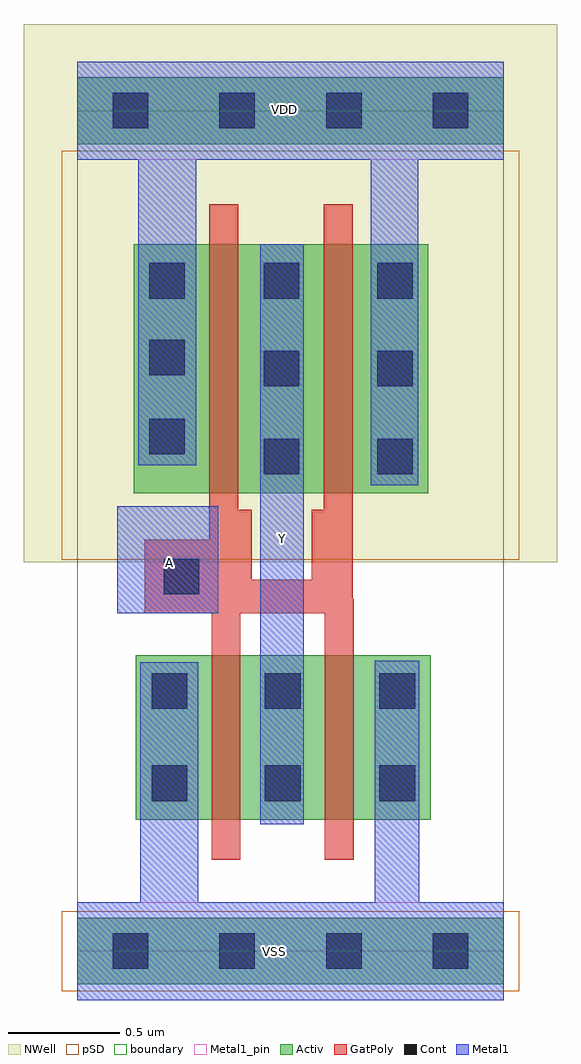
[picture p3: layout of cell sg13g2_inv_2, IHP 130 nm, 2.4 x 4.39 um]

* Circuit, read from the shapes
.subckt sg13g2_inv_2 A VDD VSS Y
XM1 Y A VSS VSS sg13_lv_nmos w=0.74u l=0.13u m=2
XM2 Y A VDD VDD sg13_lv_pmos w=1.12u l=0.13u m=2
.ends

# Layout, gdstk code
import gdstk
lib = gdstk.Library(unit=1e-6, precision=1e-09)
def R(c, l, rs):  # rectangles x0, y0, x1, y1
    for r in rs: c.add(gdstk.rectangle(r[:2], r[2:], *l))
def A(c, l, x, y, w, h, nx, ny, dx, dy):  # array of equal rectangles
    R(c, l, [(x+i*dx, y+j*dy, x+i*dx+w, y+j*dy+h) for i in range(nx) for j in range(ny)])
def P(c, l, *ps):  # polygons
    for p in ps: c.add(gdstk.Polygon(p, *l))
Activ = (1, 0)
GatPoly = (5, 0)
Cont = (6, 0)
Metal1 = (8, 0)
Metal1_pin = (8, 2)
pSD = (14, 0)
NWell = (31, 0)
boundary = (189, 4)

sg13g2_inv_2 = lib.new_cell('sg13g2_inv_2')
R(sg13g2_inv_2, Activ, [(0,-0.15,1.92,0.15), (0.265,0.59,1.59,1.33), (0.255,2.06,1.58,3.18), (0,3.63,1.92,3.93)])
P(sg13g2_inv_2, GatPoly, [(0.605,0.41),(0.605,1.52),(0.305,1.52),(0.305,1.85),(0.595,1.85),(0.595,3.36),(0.725,3.36),(0.725,1.985),(0.785,1.985),(0.785,1.67),(1.055,1.67),(1.055,1.985),(1.11,1.985),(1.11,3.36),(1.24,3.36),(1.24,1.585),(1.245,1.585),(1.245,0.41),(1.115,0.41),(1.115,1.52),(0.735,1.52),(0.735,0.41)])
A(sg13g2_inv_2, Cont, 0.84, 2.145, 0.16, 0.16, 1, 3, 0, 0.395)
A(sg13g2_inv_2, Cont, 1.35, 2.145, 0.16, 0.16, 1, 3, 0, 0.395)
R(sg13g2_inv_2, Cont, [(0.16,-0.08,0.32,0.08), (0.16,-0.08,0.32,0.08), (0.64,-0.08,0.8,0.08), (0.64,-0.08,0.8,0.08), (1.12,-0.08,1.28,0.08), (1.12,-0.08,1.28,0.08), (1.6,-0.08,1.76,0.08), (1.6,-0.08,1.76,0.08), (0.335,0.675,0.495,0.835), (0.845,0.675,1.005,0.835), (1.36,0.675,1.52,0.835), (0.335,1.09,0.495,1.25), (0.845,1.09,1.005,1.25), (1.36,1.09,1.52,1.25), (0.39,1.605,0.55,1.765), (0.325,2.235,0.485,2.395), (0.325,2.59,0.485,2.75), (0.325,2.935,0.485,3.095), (0.16,3.7,0.32,3.86), (0.16,3.7,0.32,3.86), (0.64,3.7,0.8,3.86), (0.64,3.7,0.8,3.86), (1.12,3.7,1.28,3.86), (1.12,3.7,1.28,3.86), (1.6,3.7,1.76,3.86), (1.6,3.7,1.76,3.86)])
R(sg13g2_inv_2, Metal1, [(0.825,0.57,1.02,3.18), (0.18,1.52,0.635,2)])
P(sg13g2_inv_2, Metal1, [(1.32,2.095),(1.32,3.56),(0.535,3.56),(0.535,2.185),(0.275,2.185),(0.275,3.56),(0,3.56),(0,4),(1.92,4),(1.92,3.56),(1.535,3.56),(1.535,2.095)],
  [(0,-0.22),(0,0.22),(0.285,0.22),(0.285,1.3),(0.545,1.3),(0.545,0.22),(1.34,0.22),(1.34,1.305),(1.54,1.305),(1.54,0.22),(1.92,0.22),(1.92,-0.22)])
R(sg13g2_inv_2, Metal1_pin, [(0,-0.22,1.92,0.22), (0.825,0.57,1.02,3.18), (0.18,1.52,0.635,2), (0,3.56,1.92,4)])
R(sg13g2_inv_2, pSD, [(-0.07,-0.18,1.99,0.18), (-0.07,1.76,1.99,3.6)])
R(sg13g2_inv_2, NWell, [(-0.24,1.75,2.16,4.17)])
R(sg13g2_inv_2, boundary, [(0,0,1.92,3.78)])
sg13g2_inv_2.add(gdstk.Label('VSS', (0.89,0), layer=8, texttype=25))
sg13g2_inv_2.add(gdstk.Label('VDD', (0.935,3.785), layer=8, texttype=25))
sg13g2_inv_2.add(gdstk.Label('Y', (0.925,1.855), layer=8, texttype=25))
sg13g2_inv_2.add(gdstk.Label('A', (0.415,1.75), layer=8, texttype=25))

lib.write_gds('sg13g2_inv_2.gds')
